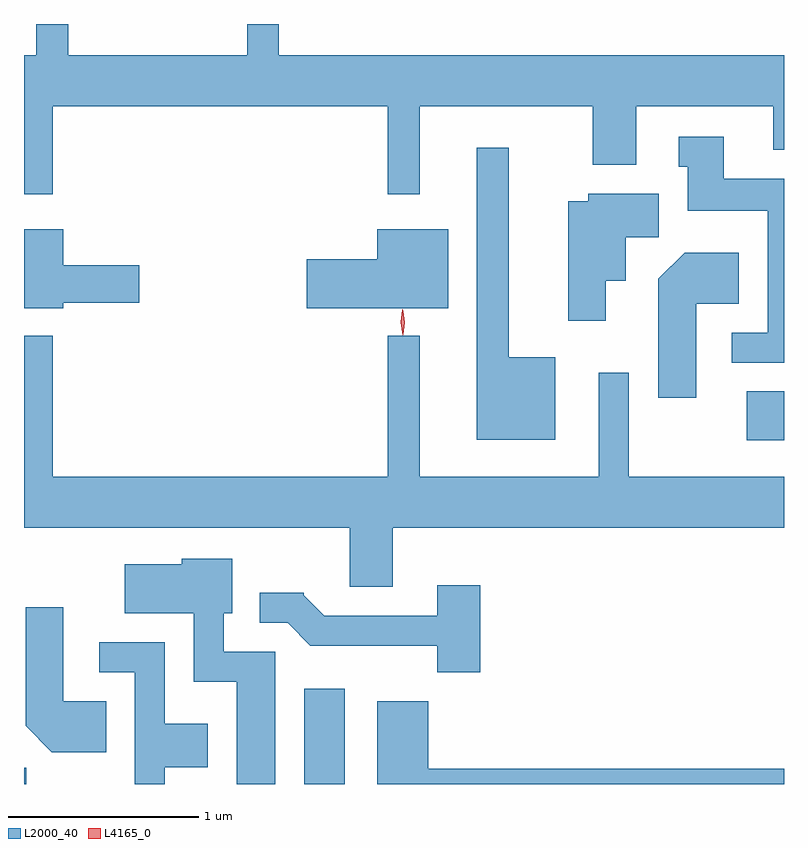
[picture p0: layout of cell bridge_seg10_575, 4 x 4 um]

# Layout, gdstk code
import gdstk
lib = gdstk.Library(unit=1e-6, precision=1e-09)
def R(c, l, rs):  # rectangles x0, y0, x1, y1
    for r in rs: c.add(gdstk.rectangle(r[:2], r[2:], *l))
def P(c, l, *ps):  # polygons
    for p in ps: c.add(gdstk.Polygon(p, *l))
L2000_40 = (2000, 40)
L4165_0 = (4165, 0)

bridge_seg10_575 = lib.new_cell('bridge_seg10_575')
R(bridge_seg10_575, L2000_40, [(758.447,2099.248,758.459,2099.334), (759.921,2099.248,760.134,2099.749), (762.251,2101.056,762.447,2101.314)])
P(bridge_seg10_575, L2000_40, [(758.599,2102.816),(760.361,2102.816),(760.361,2102.353),(760.529,2102.353),(760.529,2102.816),(761.441,2102.816),(761.441,2102.506),(761.669,2102.506),(761.669,2102.816),(762.391,2102.816),(762.391,2102.586),(762.447,2102.586),(762.447,2103.084),(759.789,2103.084),(759.789,2103.248),(759.621,2103.248),(759.621,2103.084),(758.679,2103.084),(758.679,2103.248),(758.511,2103.248),(758.511,2103.084),(758.447,2103.084),(758.447,2102.353),(758.599,2102.353)],
  [(762.447,2102.434),(762.129,2102.434),(762.129,2102.654),(761.893,2102.654),(761.893,2102.496),(761.941,2102.496),(761.941,2102.266),(762.361,2102.266),(762.361,2101.624),(762.173,2101.624),(762.173,2101.466),(762.447,2101.466)],
  [(761.244,2101.494),(760.999,2101.494),(760.999,2102.598),(760.831,2102.598),(760.831,2101.061),(761.244,2101.061)],
  [(761.509,2101.896),(761.614,2101.896),(761.614,2102.126),(761.789,2102.126),(761.789,2102.354),(761.416,2102.354),(761.416,2102.314),(761.311,2102.314),(761.311,2101.686),(761.509,2101.686)],
  [(758.654,2101.781),(759.054,2101.781),(759.054,2101.979),(758.654,2101.979),(758.654,2102.169),(758.447,2102.169),(758.447,2101.751),(758.654,2101.751)],
  [(760.679,2102.169),(760.306,2102.169),(760.306,2102.009),(759.936,2102.009),(759.936,2101.751),(760.679,2101.751)],
  [(761.984,2101.776),(762.209,2101.776),(762.209,2102.044),(761.924,2102.044),(761.786,2101.907),(761.786,2101.281),(761.984,2101.281)],
  [(760.389,2100.596),(762.447,2100.596),(762.447,2100.864),(761.629,2100.864),(761.629,2101.413),(761.471,2101.413),(761.471,2100.864),(760.529,2100.864),(760.529,2101.608),(760.361,2101.608),(760.361,2100.864),(758.599,2100.864),(758.599,2101.608),(758.447,2101.608),(758.447,2100.596),(760.161,2100.596),(760.161,2100.286),(760.389,2100.286)],
  [(759.769,2099.944),(759.499,2099.944),(759.499,2100.146),(759.544,2100.146),(759.544,2100.434),(759.276,2100.434),(759.276,2100.404),(758.976,2100.404),(758.976,2100.146),(759.341,2100.146),(759.341,2099.786),(759.566,2099.786),(759.566,2099.248),(759.769,2099.248)],
  [(760.849,2100.294),(760.621,2100.294),(760.621,2100.134),(760.027,2100.134),(759.92,2100.241),(759.92,2100.254),(759.688,2100.254),(759.688,2100.096),(759.834,2100.096),(759.954,2099.976),(760.621,2099.976),(760.621,2099.836),(760.849,2099.836)],
  [(758.879,2099.684),(758.654,2099.684),(758.654,2100.179),(758.456,2100.179),(758.456,2099.554),(758.594,2099.416),(758.879,2099.416)],
  [(759.189,2099.336),(759.414,2099.336),(759.414,2099.564),(759.189,2099.564),(759.189,2099.994),(758.843,2099.994),(758.843,2099.836),(759.031,2099.836),(759.031,2099.248),(759.189,2099.248)],
  [(762.447,2099.329),(760.574,2099.329),(760.574,2099.684),(760.306,2099.684),(760.306,2099.248),(762.447,2099.248)])
P(bridge_seg10_575, L4165_0, [(760.442,2101.613),(760.442,2101.613),(760.432,2101.676),(760.442,2101.74),(760.442,2101.74),(760.443,2101.74),(760.452,2101.676),(760.443,2101.613)],
  [(760.44,2101.61),(760.44,2101.61),(760.43,2101.678),(760.439,2101.745),(760.439,2101.746),(760.44,2101.745),(760.45,2101.678),(760.44,2101.61)])

lib.write_gds('bridge_seg10_575.gds')
